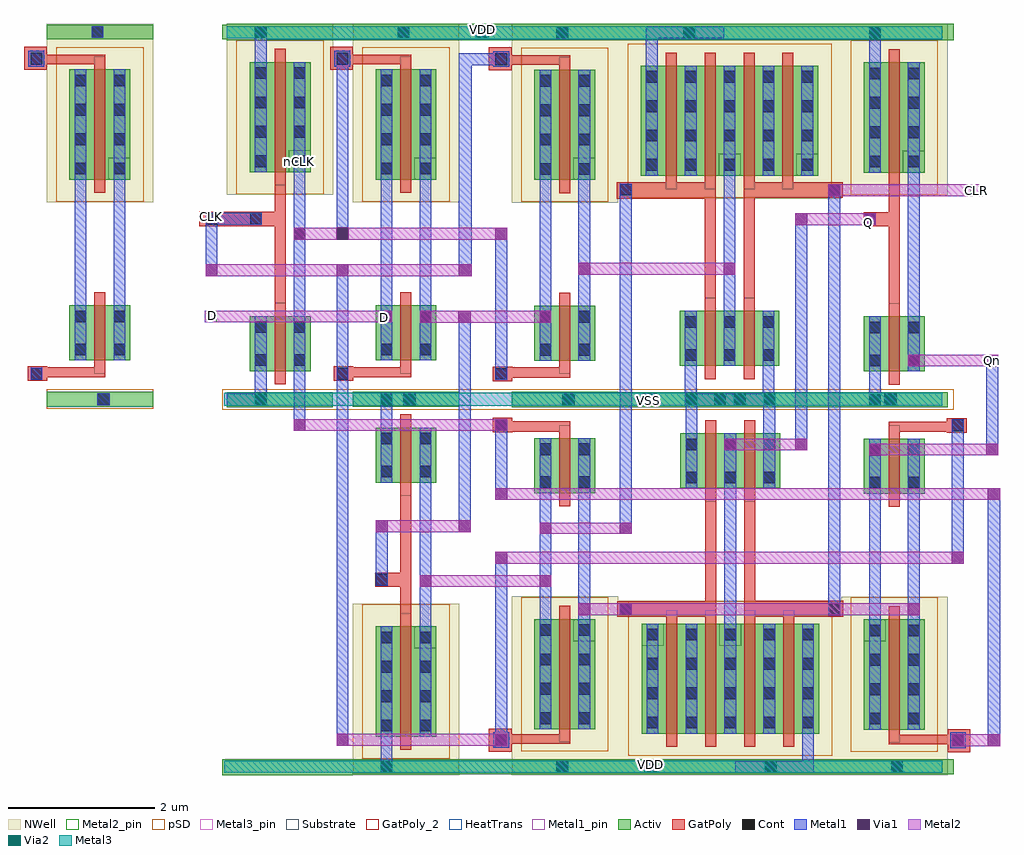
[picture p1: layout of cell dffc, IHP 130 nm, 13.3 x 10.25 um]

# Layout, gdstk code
from math import pi, radians
import gdstk
lib = gdstk.Library(unit=1e-6, precision=5e-09)
def R(c, l, rs):  # rectangles x0, y0, x1, y1
    for r in rs: c.add(gdstk.rectangle(r[:2], r[2:], *l))
def A(c, l, x, y, w, h, nx, ny, dx, dy):  # array of equal rectangles
    R(c, l, [(x+i*dx, y+j*dy, x+i*dx+w, y+j*dy+h) for i in range(nx) for j in range(ny)])
Activ = (1, 0)
GatPoly = (5, 0)
GatPoly_2 = (5, 2)
Cont = (6, 0)
Metal1 = (8, 0)
Metal1_pin = (8, 2)
Metal2 = (10, 0)
Metal2_pin = (10, 2)
pSD = (14, 0)
Via1 = (19, 0)
Via2 = (29, 0)
Metal3 = (30, 0)
Metal3_pin = (30, 2)
NWell = (31, 0)
Substrate = (40, 0)
HeatTrans = (51, 0)

nmos_3_1 = lib.new_cell('nmos$3$1')
R(nmos_3_1, Activ, [(0,0,0.3,0.3), (0,0,0.83,0.75), (0.53,0,0.83,0.3)])
R(nmos_3_1, GatPoly, [(0.34,-0.18,0.49,0.93)])
R(nmos_3_1, GatPoly_2, [(0.34,-0.18,0.49,0.93)])
R(nmos_3_1, Cont, [(0.07,0.07,0.23,0.23), (0.6,0.07,0.76,0.23), (0.07,0.52,0.23,0.68), (0.6,0.52,0.76,0.68)])
R(nmos_3_1, Metal1, [(0.07,0,0.23,0.75), (0.6,0,0.76,0.75)])
R(nmos_3_1, Metal1_pin, [(0.07,0,0.23,0.75), (0.6,0,0.76,0.75)])
R(nmos_3_1, HeatTrans, [(0.34,-0.18,0.49,0.93)])
nmos_3_1.add(gdstk.Label('nmos', (0.415,0.375), layer=63, texttype=0))
nmos_3_1.add(gdstk.Label('nmos', (0.415,0.375), layer=51, texttype=0))

pmos_1_2_1 = lib.new_cell('pmos$1$2$1')
R(pmos_1_2_1, Activ, [(0,0,0.3,0.3), (0,0,0.83,1.5), (0.53,0,0.83,0.3)])
R(pmos_1_2_1, GatPoly, [(0.34,-0.18,0.49,1.68), (0.34,-0.18,0.49,1.68)])
A(pmos_1_2_1, Cont, 0.07, 0.07, 0.16, 0.16, 1, 4, 0, 0.4)
A(pmos_1_2_1, Cont, 0.6, 0.07, 0.16, 0.16, 1, 4, 0, 0.4)
R(pmos_1_2_1, Metal1, [(0.07,0,0.23,1.5), (0.07,0,0.23,1.5), (0.6,0,0.76,1.5), (0.6,0,0.76,1.5)])
R(pmos_1_2_1, pSD, [(-0.18,-0.3,1.01,1.8)])
R(pmos_1_2_1, NWell, [(-0.31,-0.31,1.14,1.81)])
R(pmos_1_2_1, Substrate, [(0.53,0,0.83,0.3)])
R(pmos_1_2_1, HeatTrans, [(0.34,-0.18,0.49,1.68)])
pmos_1_2_1.add(gdstk.Label('pmos', (0.415,0.75), layer=63, texttype=0))
pmos_1_2_1.add(gdstk.Label('pmos', (0.415,0.75), layer=51, texttype=0))

inverter_1_1 = lib.new_cell('inverter$1$1')
R(inverter_1_1, Activ, [(-0.74,-2.19,0.7,-1.99), (-0.74,2.82,0.71,3.02)])
R(inverter_1_1, GatPoly, [(-0.09,-0.77,0.06,0.83), (-0.435,0.275,-0.135,0.47), (-0.135,0.275,-0.09,0.47)])
R(inverter_1_1, Cont, [(-0.36,-2.17,-0.2,-2.01), (-0.425,0.295,-0.265,0.455), (-0.36,2.84,-0.2,3)])
R(inverter_1_1, Metal1, [(-0.36,-2.17,-0.2,-2.01), (-0.36,-2.01,-0.2,-1.7), (0.17,-1.175,0.33,1.235), (-0.425,0.295,-0.265,0.455), (-0.36,2.51,-0.2,2.84), (-0.36,2.84,-0.2,3)])
R(inverter_1_1, Metal1_pin, [(-0.36,-2.17,-0.2,-2.01), (-0.425,0.295,-0.265,0.455), (0.17,1.08,0.33,1.24), (-0.36,2.84,-0.2,3)])
R(inverter_1_1, pSD, [(-0.74,-2.22,0.7,-1.96)])
R(inverter_1_1, NWell, [(-0.74,2.82,0.71,3.035)])
inverter_1_1.add(gdstk.Reference(nmos_3_1, (-0.43,-1.7)))
inverter_1_1.add(gdstk.Reference(pmos_1_2_1, (-0.43,1.01)))
inverter_1_1.add(gdstk.Label('out', (0.21,1.115), layer=8, texttype=2))
inverter_1_1.add(gdstk.Label('VSS', (-0.26,-2.12), layer=8, texttype=2))
inverter_1_1.add(gdstk.Label('VDD', (-0.26,2.975), layer=8, texttype=2))
inverter_1_1.add(gdstk.Label('in', (-0.32,0.36), layer=8, texttype=2))

nmos_3 = lib.new_cell('nmos$3')
R(nmos_3, Activ, [(0,0,0.3,0.3), (0,0,0.83,0.75), (0.53,0,0.83,0.3)])
R(nmos_3, GatPoly, [(0.34,-0.18,0.49,0.93)])
R(nmos_3, GatPoly_2, [(0.34,-0.18,0.49,0.93)])
R(nmos_3, Cont, [(0.07,0.07,0.23,0.23), (0.6,0.07,0.76,0.23), (0.07,0.52,0.23,0.68), (0.6,0.52,0.76,0.68)])
R(nmos_3, Metal1, [(0.07,0,0.23,0.75), (0.6,0,0.76,0.75)])
R(nmos_3, Metal1_pin, [(0.07,0,0.23,0.75), (0.6,0,0.76,0.75)])
R(nmos_3, HeatTrans, [(0.34,-0.18,0.49,0.93)])
nmos_3.add(gdstk.Label('nmos', (0.415,0.375), layer=63, texttype=0))
nmos_3.add(gdstk.Label('nmos', (0.415,0.375), layer=51, texttype=0))

pmos_1_2 = lib.new_cell('pmos$1$2')
R(pmos_1_2, Activ, [(0,0,0.3,0.3), (0,0,0.83,1.5), (0.53,0,0.83,0.3)])
R(pmos_1_2, GatPoly, [(0.34,-0.18,0.49,1.68), (0.34,-0.18,0.49,1.68)])
A(pmos_1_2, Cont, 0.07, 0.07, 0.16, 0.16, 1, 4, 0, 0.4)
A(pmos_1_2, Cont, 0.6, 0.07, 0.16, 0.16, 1, 4, 0, 0.4)
R(pmos_1_2, Metal1, [(0.07,0,0.23,1.5), (0.07,0,0.23,1.5), (0.6,0,0.76,1.5), (0.6,0,0.76,1.5)])
R(pmos_1_2, pSD, [(-0.18,-0.3,1.01,1.8)])
R(pmos_1_2, NWell, [(-0.31,-0.31,1.14,1.81)])
R(pmos_1_2, Substrate, [(0.53,0,0.83,0.3)])
R(pmos_1_2, HeatTrans, [(0.34,-0.18,0.49,1.68)])
pmos_1_2.add(gdstk.Label('pmos', (0.415,0.75), layer=63, texttype=0))
pmos_1_2.add(gdstk.Label('pmos', (0.415,0.75), layer=51, texttype=0))

inverter_1 = lib.new_cell('inverter$1')
R(inverter_1, Activ, [(-0.74,-2.19,0.7,-1.99), (-0.74,2.82,0.71,3.02)])
R(inverter_1, GatPoly, [(-0.09,-0.77,0.06,0.83), (-0.435,0.275,-0.135,0.47), (-0.135,0.275,-0.09,0.47)])
R(inverter_1, Cont, [(-0.36,-2.17,-0.2,-2.01), (-0.425,0.295,-0.265,0.455), (-0.36,2.84,-0.2,3)])
R(inverter_1, Metal1, [(-0.36,-2.17,-0.2,-2.01), (-0.36,-2.01,-0.2,-1.7), (0.17,-1.175,0.33,1.235), (-0.425,0.295,-0.265,0.455), (-0.36,2.51,-0.2,2.84), (-0.36,2.84,-0.2,3)])
R(inverter_1, Metal1_pin, [(-0.36,-2.17,-0.2,-2.01), (-0.425,0.295,-0.265,0.455), (0.17,1.08,0.33,1.24), (-0.36,2.84,-0.2,3)])
R(inverter_1, pSD, [(-0.74,-2.22,0.7,-1.96)])
R(inverter_1, NWell, [(-0.74,2.82,0.71,3.035)])
inverter_1.add(gdstk.Reference(nmos_3, (-0.43,-1.7)))
inverter_1.add(gdstk.Reference(pmos_1_2, (-0.43,1.01)))
inverter_1.add(gdstk.Label('out', (0.21,1.115), layer=8, texttype=2))
inverter_1.add(gdstk.Label('VSS', (-0.26,-2.12), layer=8, texttype=2))
inverter_1.add(gdstk.Label('VDD', (-0.26,2.975), layer=8, texttype=2))
inverter_1.add(gdstk.Label('in', (-0.32,0.36), layer=8, texttype=2))

pmos_1_4 = lib.new_cell('pmos$1$4')
R(pmos_1_4, Activ, [(0,0,0.3,0.3), (0,0,0.83,1.5), (0.53,0,0.83,0.3)])
R(pmos_1_4, GatPoly, [(0.34,-0.18,0.49,1.68), (0.34,-0.18,0.49,1.68)])
A(pmos_1_4, Cont, 0.07, 0.07, 0.16, 0.16, 1, 4, 0, 0.4)
A(pmos_1_4, Cont, 0.6, 0.07, 0.16, 0.16, 1, 4, 0, 0.4)
R(pmos_1_4, Metal1, [(0.07,0,0.23,1.5), (0.07,0,0.23,1.5), (0.6,0,0.76,1.5), (0.6,0,0.76,1.5)])
R(pmos_1_4, pSD, [(-0.18,-0.3,1.01,1.8)])
R(pmos_1_4, NWell, [(-0.31,-0.31,1.14,1.81)])
R(pmos_1_4, Substrate, [(0.53,0,0.83,0.3)])
R(pmos_1_4, HeatTrans, [(0.34,-0.18,0.49,1.68)])
pmos_1_4.add(gdstk.Label('pmos', (0.415,0.75), layer=63, texttype=0))
pmos_1_4.add(gdstk.Label('pmos', (0.415,0.75), layer=51, texttype=0))

nmos_1_2 = lib.new_cell('nmos$1$2')
R(nmos_1_2, Activ, [(0,0,0.3,0.3), (0,0,0.83,0.75), (0.53,0,0.83,0.3)])
R(nmos_1_2, GatPoly, [(0.34,-0.18,0.49,0.93)])
R(nmos_1_2, GatPoly_2, [(0.34,-0.18,0.49,0.93)])
R(nmos_1_2, Cont, [(0.07,0.07,0.23,0.23), (0.6,0.07,0.76,0.23), (0.07,0.52,0.23,0.68), (0.6,0.52,0.76,0.68)])
R(nmos_1_2, Metal1, [(0.07,0,0.23,0.75), (0.6,0,0.76,0.75)])
R(nmos_1_2, Metal1_pin, [(0.07,0,0.23,0.75), (0.6,0,0.76,0.75)])
R(nmos_1_2, HeatTrans, [(0.34,-0.18,0.49,0.93)])
nmos_1_2.add(gdstk.Label('nmos', (0.415,0.375), layer=63, texttype=0))
nmos_1_2.add(gdstk.Label('nmos', (0.415,0.375), layer=51, texttype=0))

tg_2 = lib.new_cell('tg$2')
R(tg_2, Activ, [(-1.3,-0.425,0.15,-0.22), (-1.3,4.58,0.15,4.78)])
R(tg_2, GatPoly, [(-1.56,-0.075,-1.29,0.125), (-1.29,-0.025,-0.5,0.115), (-1.61,4.165,-1.3,4.48), (-1.3,4.24,-0.5,4.37)])
R(tg_2, Cont, [(-0.61,-0.405,-0.44,-0.24), (-1.52,-0.055,-1.36,0.105), (-1.52,4.235,-1.36,4.395), (-0.69,4.6,-0.53,4.76), (-0.69,4.6,-0.53,4.76)])
R(tg_2, Metal1, [(-0.61,-0.405,-0.44,-0.24), (-1.52,-0.055,-1.36,0.105), (-0.92,0.725,-0.76,0.885), (-0.39,0.725,-0.23,0.885), (-0.92,0.955,-0.76,2.67), (-0.39,0.955,-0.23,2.67), (-1.55,4.21,-1.335,4.425), (-0.69,4.6,-0.53,4.76)])
R(tg_2, Metal1_pin, [(-0.61,-0.405,-0.44,-0.24), (-1.52,-0.055,-1.36,0.105), (-0.92,0.725,-0.76,0.885), (-0.39,0.725,-0.23,0.885), (-1.52,4.235,-1.36,4.395), (-0.69,4.6,-0.53,4.76)])
R(tg_2, pSD, [(-1.3,-0.455,0.15,-0.19)])
R(tg_2, NWell, [(-1.3,4.48,0.15,4.795)])
tg_2.add(gdstk.Reference(pmos_1_4, (-0.99,2.67)))
tg_2.add(gdstk.Reference(nmos_1_2, (-0.99,0.205)))
tg_2.add(gdstk.Label('E', (-1.405,0.045), layer=8, texttype=2))
tg_2.add(gdstk.Label('vdd', (-0.61,4.665), layer=8, texttype=2))
tg_2.add(gdstk.Label('in', (-0.84,0.81), layer=8, texttype=2))
tg_2.add(gdstk.Label('out', (-0.305,0.765), layer=8, texttype=2))
tg_2.add(gdstk.Label('E_n', (-1.48,4.305), layer=8, texttype=2))
tg_2.add(gdstk.Label('vss', (-0.545,-0.35), layer=8, texttype=2))

pmos_1_6 = lib.new_cell('pmos$1$6')
R(pmos_1_6, Activ, [(0,0,0.3,0.3), (0,0,0.83,1.5), (0.53,0,0.83,0.3)])
R(pmos_1_6, GatPoly, [(0.34,-0.18,0.49,1.68), (0.34,-0.18,0.49,1.68)])
A(pmos_1_6, Cont, 0.07, 0.07, 0.16, 0.16, 1, 4, 0, 0.4)
A(pmos_1_6, Cont, 0.6, 0.07, 0.16, 0.16, 1, 4, 0, 0.4)
R(pmos_1_6, Metal1, [(0.07,0,0.23,1.5), (0.07,0,0.23,1.5), (0.6,0,0.76,1.5), (0.6,0,0.76,1.5)])
R(pmos_1_6, pSD, [(-0.18,-0.3,1.01,1.8)])
R(pmos_1_6, NWell, [(-0.31,-0.31,1.14,1.81)])
R(pmos_1_6, Substrate, [(0.53,0,0.83,0.3)])
R(pmos_1_6, HeatTrans, [(0.34,-0.18,0.49,1.68)])
pmos_1_6.add(gdstk.Label('pmos', (0.415,0.75), layer=63, texttype=0))
pmos_1_6.add(gdstk.Label('pmos', (0.415,0.75), layer=51, texttype=0))

nmos_1_4 = lib.new_cell('nmos$1$4')
R(nmos_1_4, Activ, [(0,0,0.3,0.3), (0,0,0.83,0.75), (0.53,0,0.83,0.3)])
R(nmos_1_4, GatPoly, [(0.34,-0.18,0.49,0.93)])
R(nmos_1_4, GatPoly_2, [(0.34,-0.18,0.49,0.93)])
R(nmos_1_4, Cont, [(0.07,0.07,0.23,0.23), (0.6,0.07,0.76,0.23), (0.07,0.52,0.23,0.68), (0.6,0.52,0.76,0.68)])
R(nmos_1_4, Metal1, [(0.07,0,0.23,0.75), (0.6,0,0.76,0.75)])
R(nmos_1_4, Metal1_pin, [(0.07,0,0.23,0.75), (0.6,0,0.76,0.75)])
R(nmos_1_4, HeatTrans, [(0.34,-0.18,0.49,0.93)])
nmos_1_4.add(gdstk.Label('nmos', (0.415,0.375), layer=63, texttype=0))
nmos_1_4.add(gdstk.Label('nmos', (0.415,0.375), layer=51, texttype=0))

tg_4 = lib.new_cell('tg$4')
R(tg_4, Activ, [(-1.3,-0.425,0.15,-0.22), (-1.3,4.58,0.15,4.78)])
R(tg_4, GatPoly, [(-1.56,-0.075,-1.29,0.125), (-1.29,-0.025,-0.5,0.115), (-1.61,4.165,-1.3,4.48), (-1.3,4.24,-0.5,4.37)])
R(tg_4, Cont, [(-0.61,-0.405,-0.44,-0.24), (-1.52,-0.055,-1.36,0.105), (-1.52,4.235,-1.36,4.395), (-0.69,4.6,-0.53,4.76), (-0.69,4.6,-0.53,4.76)])
R(tg_4, Metal1, [(-0.61,-0.405,-0.44,-0.24), (-1.52,-0.055,-1.36,0.105), (-0.92,0.725,-0.76,0.885), (-0.39,0.725,-0.23,0.885), (-0.92,0.955,-0.76,2.67), (-0.39,0.955,-0.23,2.67), (-1.55,4.21,-1.335,4.425), (-0.69,4.6,-0.53,4.76)])
R(tg_4, Metal1_pin, [(-0.61,-0.405,-0.44,-0.24), (-1.52,-0.055,-1.36,0.105), (-0.92,0.725,-0.76,0.885), (-0.39,0.725,-0.23,0.885), (-1.52,4.235,-1.36,4.395), (-0.69,4.6,-0.53,4.76)])
R(tg_4, pSD, [(-1.3,-0.455,0.15,-0.19)])
R(tg_4, NWell, [(-1.3,4.48,0.15,4.795)])
tg_4.add(gdstk.Reference(pmos_1_6, (-0.99,2.67)))
tg_4.add(gdstk.Reference(nmos_1_4, (-0.99,0.205)))
tg_4.add(gdstk.Label('E', (-1.405,0.045), layer=8, texttype=2))
tg_4.add(gdstk.Label('vdd', (-0.61,4.665), layer=8, texttype=2))
tg_4.add(gdstk.Label('in', (-0.84,0.81), layer=8, texttype=2))
tg_4.add(gdstk.Label('out', (-0.305,0.765), layer=8, texttype=2))
tg_4.add(gdstk.Label('E_n', (-1.48,4.305), layer=8, texttype=2))
tg_4.add(gdstk.Label('vss', (-0.545,-0.35), layer=8, texttype=2))

pmos_1_7 = lib.new_cell('pmos$1$7')
R(pmos_1_7, Activ, [(0,0,0.3,0.3), (0,0,0.83,1.5), (0.53,0,0.83,0.3)])
R(pmos_1_7, GatPoly, [(0.34,-0.18,0.49,1.68), (0.34,-0.18,0.49,1.68)])
A(pmos_1_7, Cont, 0.07, 0.07, 0.16, 0.16, 1, 4, 0, 0.4)
A(pmos_1_7, Cont, 0.6, 0.07, 0.16, 0.16, 1, 4, 0, 0.4)
R(pmos_1_7, Metal1, [(0.07,0,0.23,1.5), (0.07,0,0.23,1.5), (0.6,0,0.76,1.5), (0.6,0,0.76,1.5)])
R(pmos_1_7, pSD, [(-0.18,-0.3,1.01,1.8)])
R(pmos_1_7, NWell, [(-0.31,-0.31,1.14,1.81)])
R(pmos_1_7, Substrate, [(0.53,0,0.83,0.3)])
R(pmos_1_7, HeatTrans, [(0.34,-0.18,0.49,1.68)])
pmos_1_7.add(gdstk.Label('pmos', (0.415,0.75), layer=63, texttype=0))
pmos_1_7.add(gdstk.Label('pmos', (0.415,0.75), layer=51, texttype=0))

nmos_1_5 = lib.new_cell('nmos$1$5')
R(nmos_1_5, Activ, [(0,0,0.3,0.3), (0,0,0.83,0.75), (0.53,0,0.83,0.3)])
R(nmos_1_5, GatPoly, [(0.34,-0.18,0.49,0.93)])
R(nmos_1_5, GatPoly_2, [(0.34,-0.18,0.49,0.93)])
R(nmos_1_5, Cont, [(0.07,0.07,0.23,0.23), (0.6,0.07,0.76,0.23), (0.07,0.52,0.23,0.68), (0.6,0.52,0.76,0.68)])
R(nmos_1_5, Metal1, [(0.07,0,0.23,0.75), (0.6,0,0.76,0.75)])
R(nmos_1_5, Metal1_pin, [(0.07,0,0.23,0.75), (0.6,0,0.76,0.75)])
R(nmos_1_5, HeatTrans, [(0.34,-0.18,0.49,0.93)])
nmos_1_5.add(gdstk.Label('nmos', (0.415,0.375), layer=63, texttype=0))
nmos_1_5.add(gdstk.Label('nmos', (0.415,0.375), layer=51, texttype=0))

tg_5 = lib.new_cell('tg$5')
R(tg_5, Activ, [(-1.3,-0.425,0.15,-0.22), (-1.3,4.58,0.15,4.78)])
R(tg_5, GatPoly, [(-1.56,-0.075,-1.29,0.125), (-1.29,-0.025,-0.5,0.115), (-1.61,4.165,-1.3,4.48), (-1.3,4.24,-0.5,4.37)])
R(tg_5, Cont, [(-0.61,-0.405,-0.44,-0.24), (-1.52,-0.055,-1.36,0.105), (-1.52,4.235,-1.36,4.395), (-0.69,4.6,-0.53,4.76), (-0.69,4.6,-0.53,4.76)])
R(tg_5, Metal1, [(-0.61,-0.405,-0.44,-0.24), (-1.52,-0.055,-1.36,0.105), (-0.92,0.725,-0.76,0.885), (-0.39,0.725,-0.23,0.885), (-0.92,0.955,-0.76,2.67), (-0.39,0.955,-0.23,2.67), (-1.55,4.21,-1.335,4.425), (-0.69,4.6,-0.53,4.76)])
R(tg_5, Metal1_pin, [(-0.61,-0.405,-0.44,-0.24), (-1.52,-0.055,-1.36,0.105), (-0.92,0.725,-0.76,0.885), (-0.39,0.725,-0.23,0.885), (-1.52,4.235,-1.36,4.395), (-0.69,4.6,-0.53,4.76)])
R(tg_5, pSD, [(-1.3,-0.455,0.15,-0.19)])
R(tg_5, NWell, [(-1.3,4.48,0.15,4.795)])
tg_5.add(gdstk.Reference(pmos_1_7, (-0.99,2.67)))
tg_5.add(gdstk.Reference(nmos_1_5, (-0.99,0.205)))
tg_5.add(gdstk.Label('E', (-1.405,0.045), layer=8, texttype=2))
tg_5.add(gdstk.Label('vdd', (-0.61,4.665), layer=8, texttype=2))
tg_5.add(gdstk.Label('in', (-0.84,0.81), layer=8, texttype=2))
tg_5.add(gdstk.Label('out', (-0.305,0.765), layer=8, texttype=2))
tg_5.add(gdstk.Label('E_n', (-1.48,4.305), layer=8, texttype=2))
tg_5.add(gdstk.Label('vss', (-0.545,-0.35), layer=8, texttype=2))

pmos_1_5 = lib.new_cell('pmos$1$5')
R(pmos_1_5, Activ, [(0,0,0.3,0.3), (0,0,0.83,1.5), (0.53,0,0.83,0.3)])
R(pmos_1_5, GatPoly, [(0.34,-0.18,0.49,1.68), (0.34,-0.18,0.49,1.68)])
A(pmos_1_5, Cont, 0.07, 0.07, 0.16, 0.16, 1, 4, 0, 0.4)
A(pmos_1_5, Cont, 0.6, 0.07, 0.16, 0.16, 1, 4, 0, 0.4)
R(pmos_1_5, Metal1, [(0.07,0,0.23,1.5), (0.07,0,0.23,1.5), (0.6,0,0.76,1.5), (0.6,0,0.76,1.5)])
R(pmos_1_5, pSD, [(-0.18,-0.3,1.01,1.8)])
R(pmos_1_5, NWell, [(-0.31,-0.31,1.14,1.81)])
R(pmos_1_5, Substrate, [(0.53,0,0.83,0.3)])
R(pmos_1_5, HeatTrans, [(0.34,-0.18,0.49,1.68)])
pmos_1_5.add(gdstk.Label('pmos', (0.415,0.75), layer=63, texttype=0))
pmos_1_5.add(gdstk.Label('pmos', (0.415,0.75), layer=51, texttype=0))

nmos_1_3 = lib.new_cell('nmos$1$3')
R(nmos_1_3, Activ, [(0,0,0.3,0.3), (0,0,0.83,0.75), (0.53,0,0.83,0.3)])
R(nmos_1_3, GatPoly, [(0.34,-0.18,0.49,0.93)])
R(nmos_1_3, GatPoly_2, [(0.34,-0.18,0.49,0.93)])
R(nmos_1_3, Cont, [(0.07,0.07,0.23,0.23), (0.6,0.07,0.76,0.23), (0.07,0.52,0.23,0.68), (0.6,0.52,0.76,0.68)])
R(nmos_1_3, Metal1, [(0.07,0,0.23,0.75), (0.6,0,0.76,0.75)])
R(nmos_1_3, Metal1_pin, [(0.07,0,0.23,0.75), (0.6,0,0.76,0.75)])
R(nmos_1_3, HeatTrans, [(0.34,-0.18,0.49,0.93)])
nmos_1_3.add(gdstk.Label('nmos', (0.415,0.375), layer=63, texttype=0))
nmos_1_3.add(gdstk.Label('nmos', (0.415,0.375), layer=51, texttype=0))

tg_3 = lib.new_cell('tg$3')
R(tg_3, Activ, [(-1.3,-0.425,0.15,-0.22), (-1.3,4.58,0.15,4.78)])
R(tg_3, GatPoly, [(-1.56,-0.075,-1.29,0.125), (-1.29,-0.025,-0.5,0.115), (-1.61,4.165,-1.3,4.48), (-1.3,4.24,-0.5,4.37)])
R(tg_3, Cont, [(-0.61,-0.405,-0.44,-0.24), (-1.52,-0.055,-1.36,0.105), (-1.52,4.235,-1.36,4.395), (-0.69,4.6,-0.53,4.76), (-0.69,4.6,-0.53,4.76)])
R(tg_3, Metal1, [(-0.61,-0.405,-0.44,-0.24), (-1.52,-0.055,-1.36,0.105), (-0.92,0.725,-0.76,0.885), (-0.39,0.725,-0.23,0.885), (-0.92,0.955,-0.76,2.67), (-0.39,0.955,-0.23,2.67), (-1.55,4.21,-1.335,4.425), (-0.69,4.6,-0.53,4.76)])
R(tg_3, Metal1_pin, [(-0.61,-0.405,-0.44,-0.24), (-1.52,-0.055,-1.36,0.105), (-0.92,0.725,-0.76,0.885), (-0.39,0.725,-0.23,0.885), (-1.52,4.235,-1.36,4.395), (-0.69,4.6,-0.53,4.76)])
R(tg_3, pSD, [(-1.3,-0.455,0.15,-0.19)])
R(tg_3, NWell, [(-1.3,4.48,0.15,4.795)])
tg_3.add(gdstk.Reference(pmos_1_5, (-0.99,2.67)))
tg_3.add(gdstk.Reference(nmos_1_3, (-0.99,0.205)))
tg_3.add(gdstk.Label('E', (-1.405,0.045), layer=8, texttype=2))
tg_3.add(gdstk.Label('vdd', (-0.61,4.665), layer=8, texttype=2))
tg_3.add(gdstk.Label('in', (-0.84,0.81), layer=8, texttype=2))
tg_3.add(gdstk.Label('out', (-0.305,0.765), layer=8, texttype=2))
tg_3.add(gdstk.Label('E_n', (-1.48,4.305), layer=8, texttype=2))
tg_3.add(gdstk.Label('vss', (-0.545,-0.35), layer=8, texttype=2))

pmos_3 = lib.new_cell('pmos$3')
A(pmos_3, Activ, 0, 0, 0.3, 0.3, 3, 1, 0.53, 0)
R(pmos_3, Activ, [(0,0,1.36,1.5)])
R(pmos_3, GatPoly, [(0.34,-0.18,0.49,1.68), (0.34,-0.18,0.49,1.68), (0.87,-0.18,1.02,1.68)])
A(pmos_3, Cont, 0.07, 0.07, 0.16, 0.16, 3, 4, 0.53, 0.4)
R(pmos_3, Metal1, [(0.07,0,0.23,1.5), (0.07,0,0.23,1.5), (0.6,0,0.76,1.5), (0.6,0,0.76,1.5), (1.13,0,1.29,1.5)])
R(pmos_3, pSD, [(-0.18,-0.3,1.54,1.8)])
R(pmos_3, NWell, [(-0.31,-0.31,1.67,1.81)])
R(pmos_3, Substrate, [(1.06,0,1.36,0.3)])
R(pmos_3, HeatTrans, [(0.34,-0.18,0.49,1.68), (0.87,-0.18,1.02,1.68)])
pmos_3.add(gdstk.Label('pmos', (0.415,0.75), layer=63, texttype=0))
pmos_3.add(gdstk.Label('pmos', (0.415,0.75), layer=51, texttype=0))
pmos_3.add(gdstk.Label('pmos', (0.945,0.75), layer=51, texttype=0))

nmos_2_2 = lib.new_cell('nmos$2$2')
R(nmos_2_2, Activ, [(0,0,0.3,0.3), (0,0,0.83,0.75), (0.53,0,0.83,0.3)])
R(nmos_2_2, GatPoly, [(0.34,-0.18,0.49,0.93)])
R(nmos_2_2, GatPoly_2, [(0.34,-0.18,0.49,0.93)])
R(nmos_2_2, Cont, [(0.07,0.07,0.23,0.23), (0.6,0.07,0.76,0.23), (0.07,0.52,0.23,0.68), (0.6,0.52,0.76,0.68)])
R(nmos_2_2, Metal1, [(0.07,0,0.23,0.75), (0.6,0,0.76,0.75)])
R(nmos_2_2, Metal1_pin, [(0.07,0,0.23,0.75), (0.6,0,0.76,0.75)])
R(nmos_2_2, HeatTrans, [(0.34,-0.18,0.49,0.93)])
nmos_2_2.add(gdstk.Label('nmos', (0.415,0.375), layer=63, texttype=0))
nmos_2_2.add(gdstk.Label('nmos', (0.415,0.375), layer=51, texttype=0))

nor2_2 = lib.new_cell('nor2$2')
R(nor2_2, Activ, [(-2.835,0.395,0.19,0.595), (-2.8,5.395,0.24,5.6)])
R(nor2_2, GatPoly, [(-1.655,1.885,-1.505,3.51), (-1.125,1.885,-0.975,3.51), (-2.855,3.235,-1.655,3.455), (-1.125,3.245,0.225,3.455)])
R(nor2_2, Cont, [(-1.255,0.415,-1.095,0.575), (0.03,3.27,0.19,3.43), (-2.81,3.28,-2.65,3.44), (-1.945,5.42,-1.785,5.58)])
R(nor2_2, Metal1, [(-1.925,0.415,-0.705,0.575), (-1.925,0.415,-1.765,1.185), (-1.255,0.415,-1.095,0.575), (-0.865,0.415,-0.705,1.185), (-1.395,1.47,-1.235,3.77), (0.03,3.27,0.19,3.43), (-2.81,3.28,-2.65,3.44), (-2.455,4.82,-2.295,5.58), (-2.455,5.42,-1.385,5.58), (-1.945,5.42,-1.79,5.58)])
R(nor2_2, Metal1_pin, [(-1.255,0.415,-1.095,0.575), (0.03,3.27,0.19,3.43), (-2.81,3.28,-2.65,3.44), (-1.395,3.62,-1.235,3.78), (-1.94,5.42,-1.785,5.58)])
R(nor2_2, pSD, [(-2.835,0.365,0.19,0.625)])
R(nor2_2, NWell, [(-2.835,5.355,0.205,5.615)])
nor2_2.add(gdstk.Reference(pmos_3, (-1.465,3.545)))
nor2_2.add(gdstk.Reference(pmos_3, (-2.525,3.545)))
nor2_2.add(gdstk.Reference(nmos_2_2, (-1.995,0.955)))
nor2_2.add(gdstk.Reference(nmos_2_2, (-1.465,0.955)))
nor2_2.add(gdstk.Label('vdd', (-1.865,5.5), layer=8, texttype=2))
nor2_2.add(gdstk.Label('out', (-1.315,3.705), layer=8, texttype=2))
nor2_2.add(gdstk.Label('B', (-0.745,3.41), layer=8, texttype=2))
nor2_2.add(gdstk.Label('A', (-1.87,3.41), layer=8, texttype=2))
nor2_2.add(gdstk.Label('vss', (-1.23,0.47), layer=8, texttype=2))

nmos_4 = lib.new_cell('nmos$4')
R(nmos_4, Activ, [(0,0,0.3,0.3), (0,0,0.83,0.75), (0.53,0,0.83,0.3)])
R(nmos_4, GatPoly, [(0.34,-0.18,0.49,0.93)])
R(nmos_4, GatPoly_2, [(0.34,-0.18,0.49,0.93)])
R(nmos_4, Cont, [(0.07,0.07,0.23,0.23), (0.6,0.07,0.76,0.23), (0.07,0.52,0.23,0.68), (0.6,0.52,0.76,0.68)])
R(nmos_4, Metal1, [(0.07,0,0.23,0.75), (0.6,0,0.76,0.75)])
R(nmos_4, Metal1_pin, [(0.07,0,0.23,0.75), (0.6,0,0.76,0.75)])
R(nmos_4, HeatTrans, [(0.34,-0.18,0.49,0.93)])
nmos_4.add(gdstk.Label('nmos', (0.415,0.375), layer=63, texttype=0))
nmos_4.add(gdstk.Label('nmos', (0.415,0.375), layer=51, texttype=0))

pmos_1_8 = lib.new_cell('pmos$1$8')
R(pmos_1_8, Activ, [(0,0,0.3,0.3), (0,0,0.83,1.5), (0.53,0,0.83,0.3)])
R(pmos_1_8, GatPoly, [(0.34,-0.18,0.49,1.68), (0.34,-0.18,0.49,1.68)])
A(pmos_1_8, Cont, 0.07, 0.07, 0.16, 0.16, 1, 4, 0, 0.4)
A(pmos_1_8, Cont, 0.6, 0.07, 0.16, 0.16, 1, 4, 0, 0.4)
R(pmos_1_8, Metal1, [(0.07,0,0.23,1.5), (0.07,0,0.23,1.5), (0.6,0,0.76,1.5), (0.6,0,0.76,1.5)])
R(pmos_1_8, pSD, [(-0.18,-0.3,1.01,1.8)])
R(pmos_1_8, NWell, [(-0.31,-0.31,1.14,1.81)])
R(pmos_1_8, Substrate, [(0.53,0,0.83,0.3)])
R(pmos_1_8, HeatTrans, [(0.34,-0.18,0.49,1.68)])
pmos_1_8.add(gdstk.Label('pmos', (0.415,0.75), layer=63, texttype=0))
pmos_1_8.add(gdstk.Label('pmos', (0.415,0.75), layer=51, texttype=0))

inverter_2 = lib.new_cell('inverter$2')
R(inverter_2, Activ, [(-0.74,-2.19,0.7,-1.99), (-0.74,2.82,0.71,3.02)])
R(inverter_2, GatPoly, [(-0.09,-0.77,0.06,0.83), (-0.435,0.275,-0.135,0.47), (-0.135,0.275,-0.09,0.47)])
R(inverter_2, Cont, [(-0.36,-2.17,-0.2,-2.01), (-0.425,0.295,-0.265,0.455), (-0.36,2.84,-0.2,3)])
R(inverter_2, Metal1, [(-0.36,-2.17,-0.2,-2.01), (-0.36,-2.01,-0.2,-1.7), (0.17,-1.175,0.33,1.235), (-0.425,0.295,-0.265,0.455), (-0.36,2.51,-0.2,2.84), (-0.36,2.84,-0.2,3)])
R(inverter_2, Metal1_pin, [(-0.36,-2.17,-0.2,-2.01), (-0.425,0.295,-0.265,0.455), (0.17,1.08,0.33,1.24), (-0.36,2.84,-0.2,3)])
R(inverter_2, pSD, [(-0.74,-2.22,0.7,-1.96)])
R(inverter_2, NWell, [(-0.74,2.82,0.71,3.035)])
inverter_2.add(gdstk.Reference(nmos_4, (-0.43,-1.7)))
inverter_2.add(gdstk.Reference(pmos_1_8, (-0.43,1.01)))
inverter_2.add(gdstk.Label('out', (0.21,1.115), layer=8, texttype=2))
inverter_2.add(gdstk.Label('VSS', (-0.26,-2.12), layer=8, texttype=2))
inverter_2.add(gdstk.Label('VDD', (-0.26,2.975), layer=8, texttype=2))
inverter_2.add(gdstk.Label('in', (-0.32,0.36), layer=8, texttype=2))

pmos_2 = lib.new_cell('pmos$2')
A(pmos_2, Activ, 0, 0, 0.3, 0.3, 3, 1, 0.53, 0)
R(pmos_2, Activ, [(0,0,1.36,1.5)])
R(pmos_2, GatPoly, [(0.34,-0.18,0.49,1.68), (0.34,-0.18,0.49,1.68), (0.87,-0.18,1.02,1.68)])
A(pmos_2, Cont, 0.07, 0.07, 0.16, 0.16, 3, 4, 0.53, 0.4)
R(pmos_2, Metal1, [(0.07,0,0.23,1.5), (0.07,0,0.23,1.5), (0.6,0,0.76,1.5), (0.6,0,0.76,1.5), (1.13,0,1.29,1.5)])
R(pmos_2, pSD, [(-0.18,-0.3,1.54,1.8)])
R(pmos_2, NWell, [(-0.31,-0.31,1.67,1.81)])
R(pmos_2, Substrate, [(1.06,0,1.36,0.3)])
R(pmos_2, HeatTrans, [(0.34,-0.18,0.49,1.68), (0.87,-0.18,1.02,1.68)])
pmos_2.add(gdstk.Label('pmos', (0.415,0.75), layer=63, texttype=0))
pmos_2.add(gdstk.Label('pmos', (0.415,0.75), layer=51, texttype=0))
pmos_2.add(gdstk.Label('pmos', (0.945,0.75), layer=51, texttype=0))

nmos_2_1 = lib.new_cell('nmos$2$1')
R(nmos_2_1, Activ, [(0,0,0.3,0.3), (0,0,0.83,0.75), (0.53,0,0.83,0.3)])
R(nmos_2_1, GatPoly, [(0.34,-0.18,0.49,0.93)])
R(nmos_2_1, GatPoly_2, [(0.34,-0.18,0.49,0.93)])
R(nmos_2_1, Cont, [(0.07,0.07,0.23,0.23), (0.6,0.07,0.76,0.23), (0.07,0.52,0.23,0.68), (0.6,0.52,0.76,0.68)])
R(nmos_2_1, Metal1, [(0.07,0,0.23,0.75), (0.6,0,0.76,0.75)])
R(nmos_2_1, Metal1_pin, [(0.07,0,0.23,0.75), (0.6,0,0.76,0.75)])
R(nmos_2_1, HeatTrans, [(0.34,-0.18,0.49,0.93)])
nmos_2_1.add(gdstk.Label('nmos', (0.415,0.375), layer=63, texttype=0))
nmos_2_1.add(gdstk.Label('nmos', (0.415,0.375), layer=51, texttype=0))

nor2_1 = lib.new_cell('nor2$1')
R(nor2_1, Activ, [(-2.835,0.395,0.19,0.595), (-2.8,5.395,0.24,5.6)])
R(nor2_1, GatPoly, [(-1.655,1.885,-1.505,3.51), (-1.125,1.885,-0.975,3.51), (-2.855,3.235,-1.655,3.455), (-1.125,3.245,0.225,3.455)])
R(nor2_1, Cont, [(-1.255,0.415,-1.095,0.575), (0.03,3.27,0.19,3.43), (-2.81,3.28,-2.65,3.44), (-1.945,5.42,-1.785,5.58)])
R(nor2_1, Metal1, [(-1.925,0.415,-0.705,0.575), (-1.925,0.415,-1.765,1.185), (-1.255,0.415,-1.095,0.575), (-0.865,0.415,-0.705,1.185), (-1.395,1.47,-1.235,3.77), (0.03,3.27,0.19,3.43), (-2.81,3.28,-2.65,3.44), (-2.455,4.82,-2.295,5.58), (-2.455,5.42,-1.385,5.58), (-1.945,5.42,-1.79,5.58)])
R(nor2_1, Metal1_pin, [(-1.255,0.415,-1.095,0.575), (0.03,3.27,0.19,3.43), (-2.81,3.28,-2.65,3.44), (-1.395,3.62,-1.235,3.78), (-1.94,5.42,-1.785,5.58)])
R(nor2_1, pSD, [(-2.835,0.365,0.19,0.625)])
R(nor2_1, NWell, [(-2.835,5.355,0.205,5.615)])
nor2_1.add(gdstk.Reference(pmos_2, (-1.465,3.545)))
nor2_1.add(gdstk.Reference(pmos_2, (-2.525,3.545)))
nor2_1.add(gdstk.Reference(nmos_2_1, (-1.995,0.955)))
nor2_1.add(gdstk.Reference(nmos_2_1, (-1.465,0.955)))
nor2_1.add(gdstk.Label('vdd', (-1.865,5.5), layer=8, texttype=2))
nor2_1.add(gdstk.Label('out', (-1.315,3.705), layer=8, texttype=2))
nor2_1.add(gdstk.Label('B', (-0.745,3.41), layer=8, texttype=2))
nor2_1.add(gdstk.Label('A', (-1.87,3.41), layer=8, texttype=2))
nor2_1.add(gdstk.Label('vss', (-1.23,0.47), layer=8, texttype=2))

pmos_1_9 = lib.new_cell('pmos$1$9')
R(pmos_1_9, Activ, [(0,0,0.3,0.3), (0,0,0.83,1.5), (0.53,0,0.83,0.3)])
R(pmos_1_9, GatPoly, [(0.34,-0.18,0.49,1.68), (0.34,-0.18,0.49,1.68)])
A(pmos_1_9, Cont, 0.07, 0.07, 0.16, 0.16, 1, 4, 0, 0.4)
A(pmos_1_9, Cont, 0.6, 0.07, 0.16, 0.16, 1, 4, 0, 0.4)
R(pmos_1_9, Metal1, [(0.07,0,0.23,1.5), (0.07,0,0.23,1.5), (0.6,0,0.76,1.5), (0.6,0,0.76,1.5)])
R(pmos_1_9, pSD, [(-0.18,-0.3,1.01,1.8)])
R(pmos_1_9, NWell, [(-0.31,-0.31,1.14,1.81)])
R(pmos_1_9, Substrate, [(0.53,0,0.83,0.3)])
R(pmos_1_9, HeatTrans, [(0.34,-0.18,0.49,1.68)])
pmos_1_9.add(gdstk.Label('pmos', (0.415,0.75), layer=63, texttype=0))
pmos_1_9.add(gdstk.Label('pmos', (0.415,0.75), layer=51, texttype=0))

nmos_1_6 = lib.new_cell('nmos$1$6')
R(nmos_1_6, Activ, [(0,0,0.3,0.3), (0,0,0.83,0.75), (0.53,0,0.83,0.3)])
R(nmos_1_6, GatPoly, [(0.34,-0.18,0.49,0.93)])
R(nmos_1_6, GatPoly_2, [(0.34,-0.18,0.49,0.93)])
R(nmos_1_6, Cont, [(0.07,0.07,0.23,0.23), (0.6,0.07,0.76,0.23), (0.07,0.52,0.23,0.68), (0.6,0.52,0.76,0.68)])
R(nmos_1_6, Metal1, [(0.07,0,0.23,0.75), (0.6,0,0.76,0.75)])
R(nmos_1_6, Metal1_pin, [(0.07,0,0.23,0.75), (0.6,0,0.76,0.75)])
R(nmos_1_6, HeatTrans, [(0.34,-0.18,0.49,0.93)])
nmos_1_6.add(gdstk.Label('nmos', (0.415,0.375), layer=63, texttype=0))
nmos_1_6.add(gdstk.Label('nmos', (0.415,0.375), layer=51, texttype=0))

tg_6 = lib.new_cell('tg$6')
R(tg_6, Activ, [(-1.3,-0.425,0.15,-0.22), (-1.3,4.58,0.15,4.78)])
R(tg_6, GatPoly, [(-1.56,-0.075,-1.29,0.125), (-1.29,-0.025,-0.5,0.115), (-1.61,4.165,-1.3,4.48), (-1.3,4.24,-0.5,4.37)])
R(tg_6, Cont, [(-0.61,-0.405,-0.44,-0.24), (-1.52,-0.055,-1.36,0.105), (-1.52,4.235,-1.36,4.395), (-0.69,4.6,-0.53,4.76), (-0.69,4.6,-0.53,4.76)])
R(tg_6, Metal1, [(-0.61,-0.405,-0.44,-0.24), (-1.52,-0.055,-1.36,0.105), (-0.92,0.725,-0.76,0.885), (-0.39,0.725,-0.23,0.885), (-0.92,0.955,-0.76,2.67), (-0.39,0.955,-0.23,2.67), (-1.55,4.21,-1.335,4.425), (-0.69,4.6,-0.53,4.76)])
R(tg_6, Metal1_pin, [(-0.61,-0.405,-0.44,-0.24), (-1.52,-0.055,-1.36,0.105), (-0.92,0.725,-0.76,0.885), (-0.39,0.725,-0.23,0.885), (-1.52,4.235,-1.36,4.395), (-0.69,4.6,-0.53,4.76)])
R(tg_6, pSD, [(-1.3,-0.455,0.15,-0.19)])
R(tg_6, NWell, [(-1.3,4.48,0.15,4.795)])
tg_6.add(gdstk.Reference(pmos_1_9, (-0.99,2.67)))
tg_6.add(gdstk.Reference(nmos_1_6, (-0.99,0.205)))
tg_6.add(gdstk.Label('E', (-1.405,0.045), layer=8, texttype=2))
tg_6.add(gdstk.Label('N_E', (-1.48,4.305), layer=8, texttype=2))
tg_6.add(gdstk.Label('VIN', (-0.84,0.81), layer=8, texttype=2))
tg_6.add(gdstk.Label('VOUT', (-0.305,0.765), layer=8, texttype=2))
tg_6.add(gdstk.Label('vdd', (-0.61,4.665), layer=8, texttype=2))
tg_6.add(gdstk.Label('vss', (-0.545,-0.35), layer=8, texttype=2))

dffc = lib.new_cell('dffc')
R(dffc, Activ, [(-2.96,-5.445,-1.18,-5.23), (-2.96,-5.435,7.01,-5.23), (-2.895,4.57,7.01,4.795), (-2.96,4.58,-2.895,4.78)])
R(dffc, GatPoly, [(-3.27,2.035,-2.59,2.23)])
R(dffc, Cont, [(-1.985,1.85,-1.825,2.01), (-1.4,1.85,-1.24,2.01), (-3.185,2.055,-3.025,2.215)])
R(dffc, Metal1, [(7.47,-5.05,7.64,-1.535), (-1.4,-5.045,-1.24,0.105), (0.765,-4.92,0.925,-2.405), (5.3,-3.115,5.46,-2.715), (5.3,-2.86,5.46,2.605), (-0.865,-2.705,-0.705,-1.975), (6.985,-2.565,7.145,-0.6), (2.46,-2.16,2.62,0.31), (0.265,-2.135,0.425,0.885), (0.765,-1.695,0.925,-0.755), (7.455,-1.09,7.615,0.285), (4.85,-1.02,5.01,2.21), (-1.985,-0.755,-1.825,0.29), (-2.895,-0.41,-2.515,-0.25), (2.775,-0.41,2.965,-0.25), (0.765,-0.06,0.925,2.01), (-1.4,0.105,-1.24,1.515), (2.46,0.31,2.62,2.065), (-0.8,0.725,-0.64,0.955), (-0.27,0.885,-0.11,0.955), (-3.185,1.355,-3.025,2.055), (0.265,1.355,0.44,4.23), (-1.4,2.01,-1.24,4.235), (-3.185,2.055,-2.42,2.215), (2.46,2.065,2.62,2.455), (0.265,4.23,0.925,4.39)])
R(dffc, Metal1_pin, [(-3.185,2.055,-3.025,2.215)])
R(dffc, Metal2, [(4.435,-5.415,4.595,-5.255), (6.155,-5.415,6.315,-5.255), (-0.8,-5.41,-0.64,-5.25), (1.595,-5.41,1.755,-5.25), (2.795,-5.41,2.975,-5.25), (6.985,-5.05,7.64,-4.89), (-1.4,-5.045,0.925,-4.885), (1.895,-3.265,2.62,-3.105), (2.62,-3.265,6.545,-3.105), (-0.27,-2.88,1.525,-2.72), (0.765,-2.565,7.145,-2.405), (1.365,-2.16,2.62,-2.005), (-0.865,-2.135,0.425,-1.975), (0.765,-1.695,7.64,-1.535), (5.855,-1.09,7.615,-0.93), (3.885,-1.02,5.01,-0.86), (-1.985,-0.755,0.925,-0.595), (5.855,-0.415,6.015,-0.255), (6.065,-0.415,6.235,-0.25), (-2.515,-0.41,-2.355,-0.25), (1.675,-0.41,1.845,-0.245), (2.775,-0.41,2.965,-0.25), (3.355,-0.41,3.515,-0.25), (3.745,-0.41,3.905,-0.25), (4.015,-0.41,4.175,-0.25), (4.42,-0.41,4.575,-0.25), (-0.49,-0.405,-0.32,-0.24), (-0.8,-0.4,-0.64,-0.24), (6.385,0.125,7.615,0.285), (-0.27,0.715,1.525,0.885), (-3.195,0.725,-0.64,0.885), (-3.185,1.355,-1.24,1.515), (-1.24,1.355,0.44,1.515), (1.895,1.375,4.035,1.535), (-1.985,1.85,-1.4,2.01), (-1.24,1.85,0.925,2.01), (4.85,2.05,5.95,2.21), (5.3,2.445,7.405,2.605), (1.595,4.595,1.755,4.755), (3.325,4.595,3.485,4.755), (5.855,4.595,6.015,4.755), (-2.515,4.6,-2.355,4.76), (-0.57,4.6,-0.41,4.76), (0.495,4.6,0.675,4.76)])
R(dffc, Metal2_pin, [(7.455,0.12,7.615,0.285), (7.455,0.12,7.615,0.285), (-3.195,0.725,-3.03,0.885), (5.79,2.05,5.95,2.21), (5.79,2.05,5.95,2.21), (7.235,2.445,7.405,2.605), (7.235,2.445,7.405,2.605)])
R(dffc, pSD, [(-2.96,-0.465,7.01,-0.19), (-2.96,-0.46,-2.895,-0.2)])
R(dffc, Via1, [(4.435,-5.415,4.595,-5.255), (6.155,-5.415,6.315,-5.255), (-0.8,-5.41,-0.64,-5.25), (1.595,-5.41,1.755,-5.25), (2.795,-5.41,2.975,-5.25), (6.985,-5.05,7.145,-4.89), (7.47,-5.05,7.64,-4.89), (-1.4,-5.045,-1.24,-4.885), (0.765,-5.045,0.925,-4.885), (1.895,-3.265,2.055,-3.105), (2.46,-3.265,2.62,-3.105), (6.385,-3.265,6.545,-3.105), (-0.27,-2.88,-0.11,-2.72), (1.365,-2.88,1.525,-2.72), (0.765,-2.565,0.925,-2.405), (6.985,-2.565,7.145,-2.405), (1.365,-2.16,1.525,-2.005), (2.46,-2.16,2.62,-2.005), (-0.865,-2.135,-0.705,-1.975), (0.265,-2.135,0.425,-1.975), (0.765,-1.695,0.925,-1.535), (7.47,-1.695,7.64,-1.535), (5.855,-1.095,6.015,-0.93), (7.45,-1.09,7.615,-0.93), (3.885,-1.02,4.045,-0.86), (4.85,-1.02,5.01,-0.86), (-1.985,-0.755,-1.825,-0.595), (0.76,-0.755,0.925,-0.595), (5.855,-0.415,6.015,-0.255), (6.065,-0.415,6.235,-0.25), (-2.515,-0.41,-2.355,-0.25), (1.675,-0.41,1.845,-0.245), (2.775,-0.41,2.965,-0.25), (3.355,-0.41,3.515,-0.25), (3.745,-0.41,3.905,-0.25), (4.015,-0.41,4.175,-0.25), (4.42,-0.41,4.575,-0.25), (-0.49,-0.405,-0.32,-0.24), (-0.8,-0.4,-0.64,-0.24), (7.455,0.12,7.615,0.285), (6.385,0.125,6.545,0.285), (0.26,0.715,0.425,0.885), (1.365,0.72,1.525,0.88), (-0.8,0.725,-0.64,0.885), (-0.27,0.725,-0.11,0.885), (-3.185,1.355,-3.025,1.515), (-1.4,1.355,-1.24,1.515), (0.265,1.355,0.44,1.515), (1.895,1.375,2.055,1.535), (3.875,1.375,4.035,1.535), (-1.985,1.85,-1.825,2.01), (-1.4,1.85,-1.24,2.01), (0.765,1.85,0.925,2.01), (4.85,2.05,5.01,2.21), (5.79,2.05,5.95,2.21), (5.3,2.445,5.46,2.605), (1.595,4.595,1.755,4.755), (3.325,4.595,3.485,4.755), (5.855,4.595,6.015,4.755), (-2.515,4.6,-2.355,4.76), (-0.57,4.6,-0.41,4.76), (0.495,4.6,0.675,4.76)])
R(dffc, Via2, [(1.595,-5.415,1.755,-5.25), (4.435,-5.415,4.595,-5.255), (6.155,-5.415,6.315,-5.255), (-0.8,-5.41,-0.64,-5.25), (2.795,-5.41,2.975,-5.25), (5.855,-0.415,6.015,-0.255), (6.065,-0.415,6.235,-0.25), (-2.515,-0.41,-2.355,-0.25), (1.675,-0.41,1.845,-0.245), (2.775,-0.41,2.965,-0.25), (3.355,-0.41,3.515,-0.25), (3.745,-0.41,3.905,-0.25), (4.015,-0.41,4.175,-0.25), (4.42,-0.41,4.575,-0.25), (-0.49,-0.405,-0.32,-0.24), (-0.8,-0.4,-0.64,-0.24), (1.595,4.595,1.755,4.755), (3.325,4.595,3.485,4.755), (3.325,4.595,3.485,4.755), (5.855,4.595,6.015,4.755), (-2.515,4.6,-2.355,4.76), (-0.57,4.6,-0.41,4.76), (0.495,4.6,0.675,4.76)])
R(dffc, Metal3, [(-2.93,-5.415,6.855,-5.25), (-2.28,-5.41,-0.8,-5.25), (2.795,-5.41,2.975,-5.25), (-2.93,-0.415,6.855,-0.235), (2.775,-0.41,2.965,-0.25), (-2.355,4.585,6.855,4.76), (-2.895,4.595,-2.355,4.76), (0.495,4.6,0.675,4.76)])
R(dffc, Metal3_pin, [(2.795,-5.41,2.975,-5.25), (2.775,-0.41,2.965,-0.25), (0.495,4.6,0.675,4.76)])
dffc.add(gdstk.Reference(inverter_1_1, (-0.44,-2.41), x_reflection=True))
dffc.add(gdstk.Reference(inverter_1, (-2.155,1.76)))
dffc.add(gdstk.Reference(tg_2, (2.285,-0.005)))
dffc.add(gdstk.Reference(tg_4, (2.285,-0.65), x_reflection=True))
dffc.add(gdstk.Reference(tg_5, (5.625,-0.655), rotation=pi))
dffc.add(gdstk.Reference(tg_3, (-4.05,0)))
dffc.add(gdstk.Reference(nor2_2, (2.65,0.165), rotation=pi))
dffc.add(gdstk.Reference(inverter_2, (6.215,1.755)))
dffc.add(gdstk.Reference(nor2_1, (5.27,-0.825)))
dffc.add(gdstk.Reference(tg_6, (0.12,0)))
dffc.add(gdstk.Label('CLK', (-3.105,2.16), layer=8, texttype=2))
dffc.add(gdstk.Label('nCLK', (-1.905,2.91), layer=8, texttype=2))
dffc.add(gdstk.Label('D', (-0.75,0.79), layer=8, texttype=2))
dffc.add(gdstk.Label('D', (-3.095,0.815), layer=10, texttype=2))
dffc.add(gdstk.Label('CLR', (7.32,2.525), layer=10, texttype=2))
dffc.add(gdstk.Label('Qn', (7.535,0.2), layer=10, texttype=2))
dffc.add(gdstk.Label('Q', (5.85,2.09), layer=10, texttype=2))
dffc.add(gdstk.Label('VDD', (2.88,-5.305), layer=30, texttype=2))
dffc.add(gdstk.Label('VSS', (2.85,-0.335), layer=30, texttype=2))
dffc.add(gdstk.Label('VDD', (0.59,4.72), layer=30, texttype=2))

lib.write_gds('dffc.gds')
